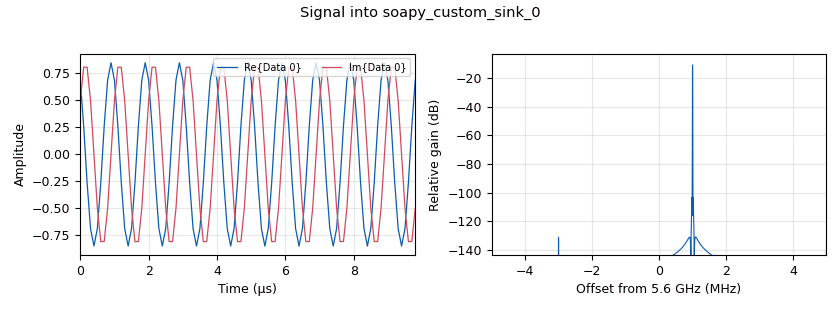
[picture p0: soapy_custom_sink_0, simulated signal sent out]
options:
  parameters:
    generate_options: qt_gui
    generator_class_name: PythonQtGuiGenerator
    generator_module: gnuradio.grc.workflows.python_qt_gui
    id: test_complex
    output_language: python
    title: QuadRF testing
  states: {}

blocks:
- name: samp_rate
  id: variable
  parameters:
    value: 10e6
  states: {}
- name: analog_sig_source_x_0
  id: analog_sig_source_x
  parameters:
    amp: '0.85'
    freq: 1e6
    offset: '0'
    phase: '0'
    samp_rate: samp_rate
    type: complex
    waveform: analog.GR_SIN_WAVE
  states: {}
- name: blocks_moving_average_xx_0
  id: blocks_moving_average_xx
  parameters:
    length: '50000'
    max_iter: '4000'
    scale: 1/50000
    type: complex
  states: {}
- name: blocks_multiply_conjugate_cc_0
  id: blocks_multiply_conjugate_cc
  parameters: {}
  states: {}
- name: qtgui_const_sink_x_0_0
  id: qtgui_const_sink_x
  parameters:
    alpha1: '1'
    color1: '"red"'
    grid: 'True'
    marker1: '8'
    size: '100'
    style1: '1'
    type: complex
    update_time: '0.01'
    width1: '4'
    xmax: '0.2'
    xmin: '-0.2'
    ymax: '0.2'
    ymin: '-0.2'
  states: {}
- name: soapy_custom_sink_0
  id: soapy_custom_sink
  parameters:
    center_freq0: 5.6e9
    driver: mipi
    samp_rate: samp_rate
    type: fc32
  states: {}
- name: soapy_custom_source_0
  id: soapy_custom_source
  parameters:
    center_freq0: 5.6e9
    dc_removal0: 'False'
    driver: mipi
    samp_rate: samp_rate
    type: fc32
  states: {}

connections:
- [analog_sig_source_x_0, '0', blocks_multiply_conjugate_cc_0, '1']
- [analog_sig_source_x_0, '0', soapy_custom_sink_0, '0']
- [blocks_moving_average_xx_0, '0', qtgui_const_sink_x_0_0, '0']
- [blocks_multiply_conjugate_cc_0, '0', blocks_moving_average_xx_0, '0']
- [soapy_custom_source_0, '0', blocks_multiply_conjugate_cc_0, '0']

metadata:
  file_format: 1
  grc_version: 3.10.12.0
